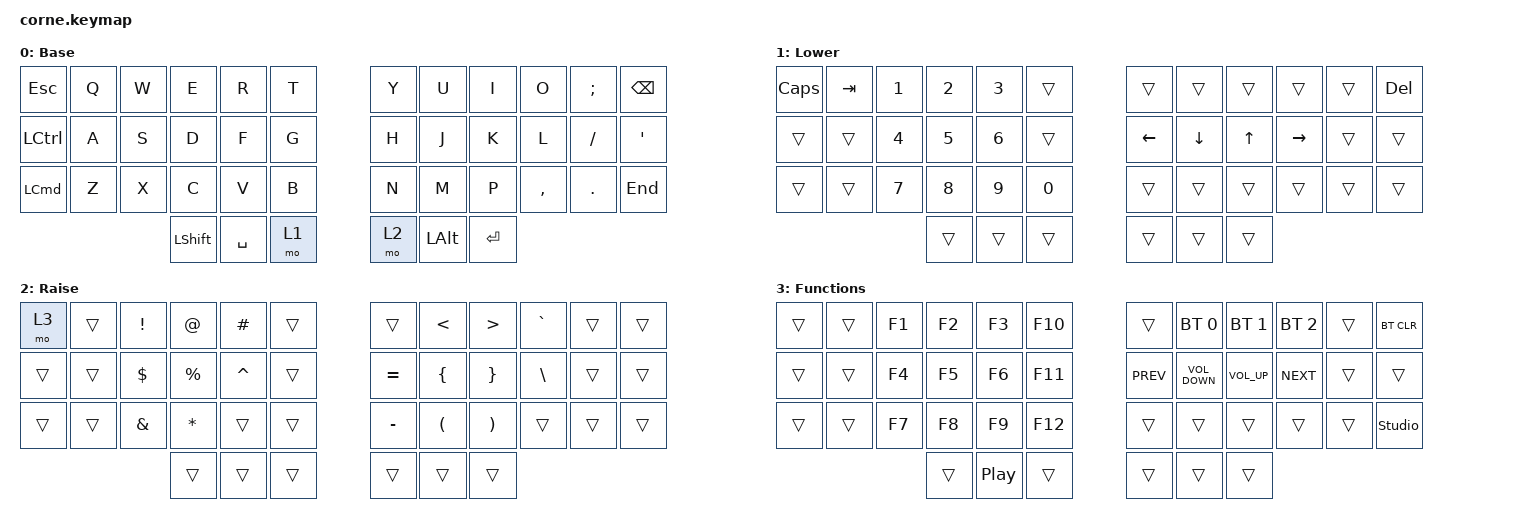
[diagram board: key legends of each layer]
/*
 * Copyright (c) 2020 The ZMK Contributors
 *
 * SPDX-License-Identifier: MIT
 */

#include <behaviors.dtsi>
#include <dt-bindings/zmk/keys.h>
#include <dt-bindings/zmk/bt.h>

#define BASE  0
#define LOWER 1
#define RAISE 2
#define FUNC  3

/ {
    keymap {
        compatible = "zmk,keymap";

        Base {
            display-name = "Base";
            // -----------------------------------------------------------------------------------------
            // |  TAB |  Q  |  W  |  E  |  R  |  T  |   |  Y  |  U   |  I  |  O  |  P  | BSPC |
            // | CTRL |  A  |  S  |  D  |  F  |  G  |   |  H  |  J   |  K  |  L  |  ;  |  '   |
            // | SHFT |  Z  |  X  |  C  |  V  |  B  |   |  N  |  M   |  ,  |  .  |  /  | ESC  |
            //                    | GUI | LWR | SPC |   | ENT | RSE  | ALT |

            bindings = <
&kp ESCAPE        &kp Q  &kp W  &kp E           &kp R      &kp T    &kp Y  &kp U         &kp I      &kp O      &kp SEMICOLON  &kp BSPC
&kp LCTRL         &kp A  &kp S  &kp D           &kp F      &kp G    &kp H  &kp J         &kp K      &kp L      &kp SLASH      &kp SQT
&kp LEFT_COMMAND  &kp Z  &kp X  &kp C           &kp V      &kp B    &kp N  &kp M         &kp P      &kp COMMA  &kp PERIOD     &kp END
                                &kp LEFT_SHIFT  &kp SPACE  &mo 1    &mo 2  &kp LEFT_ALT  &kp ENTER
            >;
        };

        Lower {
            display-name = "Lower";
            // -----------------------------------------------------------------------------------------
            // |  TAB |  1  |  2  |  3  |  4  |  5  |   |  6  |  7  |  8  |  9  |  0  | BSPC |
            // | BTCLR| BT1 | BT2 | BT3 | BT4 | BT5 |   | LFT | DWN |  UP | RGT |     |      |
            // | SHFT |     |     |     |     |     |   |     |     |     |     |     |      |
            //                    | GUI |     | SPC |   | ENT |     | ALT |

            bindings = <
&kp CAPS  &kp TAB  &kp NUMBER_1  &kp NUMBER_2  &kp NUMBER_3  &trans    &trans    &trans    &trans  &trans     &trans  &kp DELETE
&trans    &trans   &kp NUMBER_4  &kp N5        &kp NUMBER_6  &trans    &kp LEFT  &kp DOWN  &kp UP  &kp RIGHT  &trans  &trans
&trans    &trans   &kp N7        &kp N8        &kp N9        &kp N0    &trans    &trans    &trans  &trans     &trans  &trans
                                 &trans        &trans        &trans    &trans    &trans    &trans
            >;
        };

        Raise {
            display-name = "Raise";
            // -----------------------------------------------------------------------------------------
            // |  TAB |  !  |  @  |  #  |  $  |  %  |   |  ^  |  &  |  *  |  (  |  )  | BSPC |
            // | CTRL |     |     |     |     |     |   |  -  |  =  |  [  |  ]  |  \  |  `   |
            // | SHFT |     |     |     |     |     |   |  _  |  +  |  {  |  }  | "|" |  ~   |
            //                    | GUI |     | SPC |   | ENT |     | ALT |

            bindings = <
&mo 3   &trans  &kp EXCLAMATION  &kp AT_SIGN   &kp POUND  &trans       &trans     &kp LESS_THAN         &kp GREATER_THAN       &kp GRAVE      &trans  &trans
&trans  &trans  &kp DOLLAR       &kp PERCENT   &kp CARET  &trans       &kp EQUAL  &kp LEFT_BRACE        &kp RIGHT_BRACE        &kp BACKSLASH  &trans  &trans
&trans  &trans  &kp AMPERSAND    &kp ASTERISK  &trans     &trans       &kp MINUS  &kp LEFT_PARENTHESIS  &kp RIGHT_PARENTHESIS  &trans         &trans  &trans
                                 &trans        &trans     &trans       &trans     &trans                &trans
            >;
        };

        Functions {
            display-name = "Functions";
            bindings = <
&trans  &trans  &kp F1  &kp F2  &kp F3            &kp F10    &trans      &bt BT_SEL 0       &bt BT_SEL 1     &bt BT_SEL 2  &trans  &bt BT_CLR
&trans  &trans  &kp F4  &kp F5  &kp F6            &kp F11    &kp C_PREV  &kp C_VOLUME_DOWN  &kp C_VOLUME_UP  &kp C_NEXT    &trans  &trans
&trans  &trans  &kp F7  &kp F8  &kp F9            &kp F12    &trans      &trans             &trans           &trans        &trans  &studio_unlock
                        &trans  &kp C_PLAY_PAUSE  &trans     &trans      &trans             &trans
            >;
        };
    };
};

